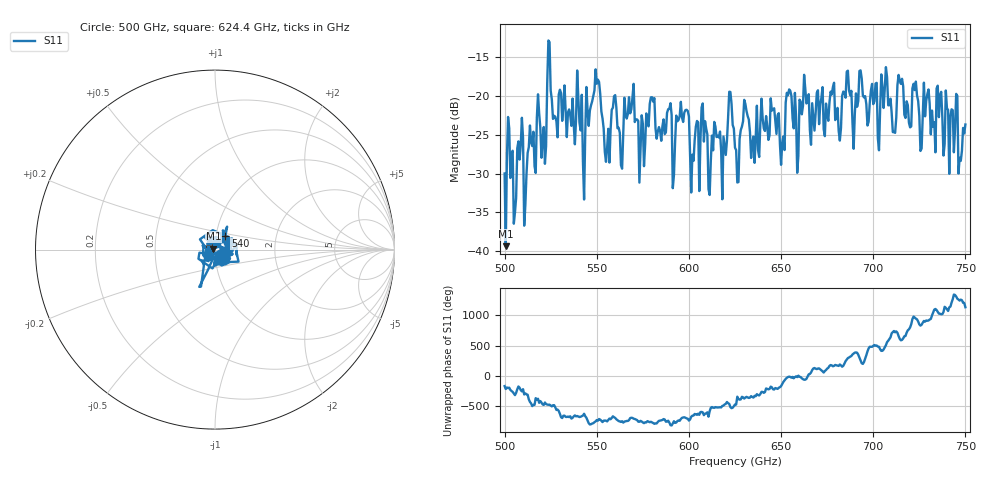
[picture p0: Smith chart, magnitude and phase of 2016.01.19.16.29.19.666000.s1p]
!Created with skrf (http://scikit-rf.org).
# GHz S RI R 50.0
!freq ReS11 ImS11
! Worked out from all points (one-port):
!   401 points, 500 GHz to 750 GHz, reference 50 ohm
!   lowest |S11| = -39.3 dB at 500.6 GHz (marker M1), VSWR 1.02, Z = 49.1 + j0.581 ohm
!   |S11| at or under -10 dB: start of sweep to end of sweep
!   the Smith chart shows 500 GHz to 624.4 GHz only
!   S11 on the Smith chart (normalised r, x): 500 GHz: 0.94, -0.01; 540 GHz: 1.11, +0.17; 624.4 GHz: 0.91, -0.08
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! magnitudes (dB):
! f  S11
! 500 GHz  -30.0
! 500.6 GHz  -39.3
! 521.2 GHz  -24.0
! 524.4 GHz  -13.1
! 527.5 GHz  -22.7
! 531.2 GHz  -23.2
! 540 GHz  -20.3
! 542.5 GHz  -28.5
! 550.6 GHz  -18.0
! 555.6 GHz  -26.7
! 559.4 GHz  -20.1
! 562.5 GHz  -24.8
! 568.8 GHz  -21.8
! 574.4 GHz  -22.5
! 580 GHz  -20.2
! 593.8 GHz  -23.3
! 598.8 GHz  -21.8
! 601.9 GHz  -27.6
! 608.1 GHz  -25.9
! 611.9 GHz  -28.4
! 624.4 GHz  -24.2
! 625 GHz  -26.7
! 645.6 GHz  -21.8
! 650.6 GHz  -26.0
! 656.2 GHz  -23.0
! 687.5 GHz  -20.0
! 718.8 GHz  -21.2
! 750 GHz  -23.7
